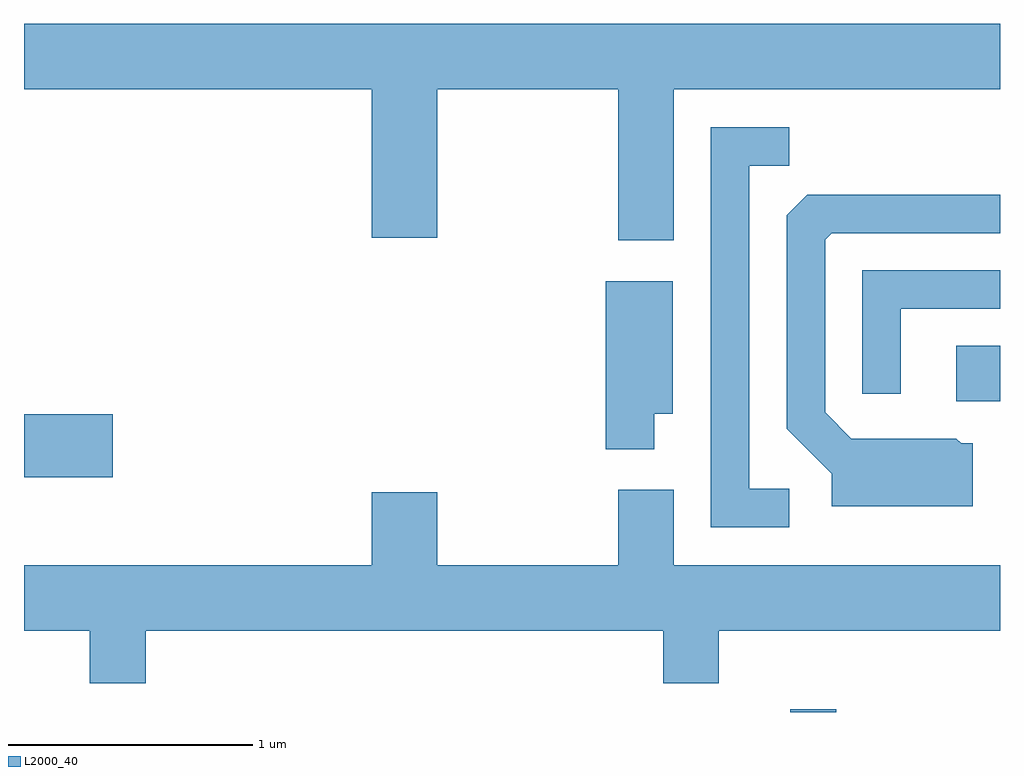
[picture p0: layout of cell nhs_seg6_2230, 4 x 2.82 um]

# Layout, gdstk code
import gdstk
lib = gdstk.Library(unit=1e-6, precision=1e-09)
def R(c, l, rs):  # rectangles x0, y0, x1, y1
    for r in rs: c.add(gdstk.rectangle(r[:2], r[2:], *l))
def P(c, l, *ps):  # polygons
    for p in ps: c.add(gdstk.Polygon(p, *l))
L2000_40 = (2000, 40)

nhs_seg6_2230 = lib.new_cell('nhs_seg6_2230')
R(nhs_seg6_2230, L2000_40, [(256.751,1534.162,256.939,1534.174), (253.611,1535.126,253.974,1535.384), (257.431,1535.436,257.611,1535.664)])
P(nhs_seg6_2230, L2000_40, [(256.274,1536.716),(257.611,1536.716),(257.611,1536.984),(253.611,1536.984),(253.611,1536.716),(255.036,1536.716),(255.036,1536.106),(255.304,1536.106),(255.304,1536.716),(256.046,1536.716),(256.046,1536.096),(256.274,1536.096)],
  [(256.748,1535.079),(256.584,1535.079),(256.584,1536.401),(256.748,1536.401),(256.748,1536.559),(256.426,1536.559),(256.426,1534.921),(256.748,1534.921)],
  [(257.499,1535.264),(257.452,1535.264),(257.432,1535.284),(257.002,1535.284),(256.894,1535.392),(256.894,1536.099),(256.921,1536.126),(257.611,1536.126),(257.611,1536.284),(256.822,1536.284),(256.736,1536.199),(256.736,1535.324),(256.921,1535.139),(256.921,1535.006),(257.499,1535.006)],
  [(257.204,1535.816),(257.611,1535.816),(257.611,1535.974),(257.046,1535.974),(257.046,1535.468),(257.204,1535.468)],
  [(256.194,1535.386),(256.269,1535.386),(256.269,1535.929),(255.996,1535.929),(255.996,1535.241),(256.194,1535.241)],
  [(254.109,1534.496),(256.231,1534.496),(256.231,1534.281),(256.459,1534.281),(256.459,1534.496),(257.611,1534.496),(257.611,1534.764),(256.274,1534.764),(256.274,1535.074),(256.046,1535.074),(256.046,1534.764),(255.304,1534.764),(255.304,1535.064),(255.036,1535.064),(255.036,1534.764),(253.611,1534.764),(253.611,1534.496),(253.881,1534.496),(253.881,1534.281),(254.109,1534.281)])

lib.write_gds('nhs_seg6_2230.gds')
